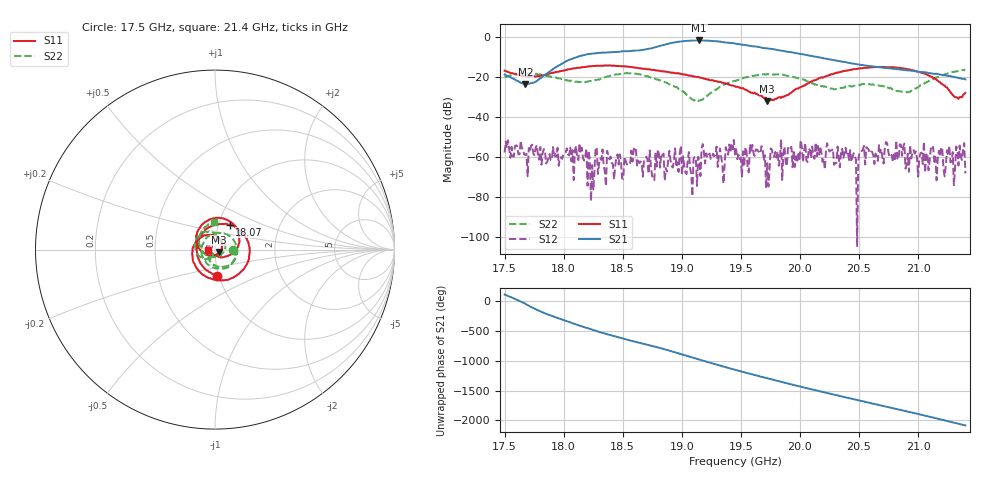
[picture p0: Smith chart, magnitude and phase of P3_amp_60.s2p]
!Created with skrf (http://scikit-rf.org).
# GHz S RI R 50.0
!freq ReS11 ImS11 ReS21 ImS21 ReS12 ImS12 ReS22 ImS22
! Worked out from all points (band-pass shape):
!   401 points, 17.5 GHz to 21.4 GHz, reference 50 ohm
!   highest |S21| = -1.64 dB at 19.15 GHz (marker M1); lowest = -23.4 dB at 17.68 GHz (marker M2)
!   |S21| within 3 dB of the highest: 18.8 GHz to 19.62 GHz (821.4 MHz wide, 4.28 % of centre)
!   lowest |S11| = -31.9 dB at 19.72 GHz (marker M3), VSWR 1.05, Z = 52.2 - j1.42 ohm
!   |S11| at or under -10 dB: start of sweep to end of sweep
!   |S22| runs from -32.1 to -16.3 dB; largest |S21 - S12| = 0.83
!   S11 on the Smith chart (normalised r, x): 17.5 GHz: 0.98, -0.29; 18.07 GHz: 1.13, +0.32; 21.4 GHz: 0.92, -0.00
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17.5  0.00893 -0.1443  -0.0417 0.1079  -0.00119 0.000491  0.0989 3.81e-05
17.6755  -0.097 -0.0399  0.0477 -0.0473  -0.000972 0.000596  0.1015 -0.068
18.0655  0.0826 0.1397  0.2826 -0.0189  0.000762 -8.22e-05  -0.0732 -0.0369
18.15325  0.1414 0.1041  0.1579 -0.3077  0.0017 -0.000123  -0.0723 0.0193
18.241  0.1831 0.0461  -0.1895 -0.3363  0.000129 -0.000612  -0.0424 0.0705
18.28975  0.1928 0.0043  -0.3446 -0.2072  -0.000372 -4.55e-05  -0.0102 0.0866
18.514  0.0986 -0.1573  0.0347 0.445  0.00037 -0.000932  0.1229 0.000816
18.592  0.0357 -0.1712  0.3221 0.3282  -0.000258 -0.00145  0.1067 -0.059
18.75775  -0.0847 -0.1246  0.4392 -0.3121  -0.00016 -0.000221  0.0111 -0.094
18.8065  -0.1067 -0.0984  0.2914 -0.5232  0.000256 -0.00116  -0.00833 -0.0835
19.0015  -0.1157 0.0265  -0.784 -0.1009  -0.00015 -0.00032  -0.0324 -0.0313
19.14775  -0.0591 0.0798  -0.1509 0.8145  -0.000351 0.000768  -0.0149 -0.0215
19.30375  0.00395 0.0763  0.7754 0.1423  0.000527 0.000187  -0.0205 -0.0475
19.45  0.0336 0.0479  0.2243 -0.6574  0.00113 0.000223  -0.0648 -0.0477
19.6645  0.0343 -0.0036  -0.5547 0.0396  0.000992 -0.00071  -0.1124 0.0275
19.723  0.0214 -0.0136  -0.4424 0.2808  0.00052 -0.000457  -0.1058 0.0527
19.77175  0.0143 -0.0222  -0.2641 0.4258  0.000663 -0.000786  -0.0895 0.0732
19.94725  -0.0334 -0.0318  0.3385 0.2316  -0.000904 -0.00115  -0.0204 0.0995
20.10325  -0.0785 -0.00518  0.2527 -0.2233  -0.00097 -0.00155  0.0135 0.0682
20.37625  -0.0939 0.1059  -0.2356 -0.0448  -0.00125 0.000116  0.0104 0.0531
20.7565  0.0857 0.155  0.1553 0.0578  0.000999 0.000129  0.0519 -0.00524
21.4  -0.0401 -0.000694  0.0221 0.0847  -0.00037 0.000106  -0.00728 0.1533
